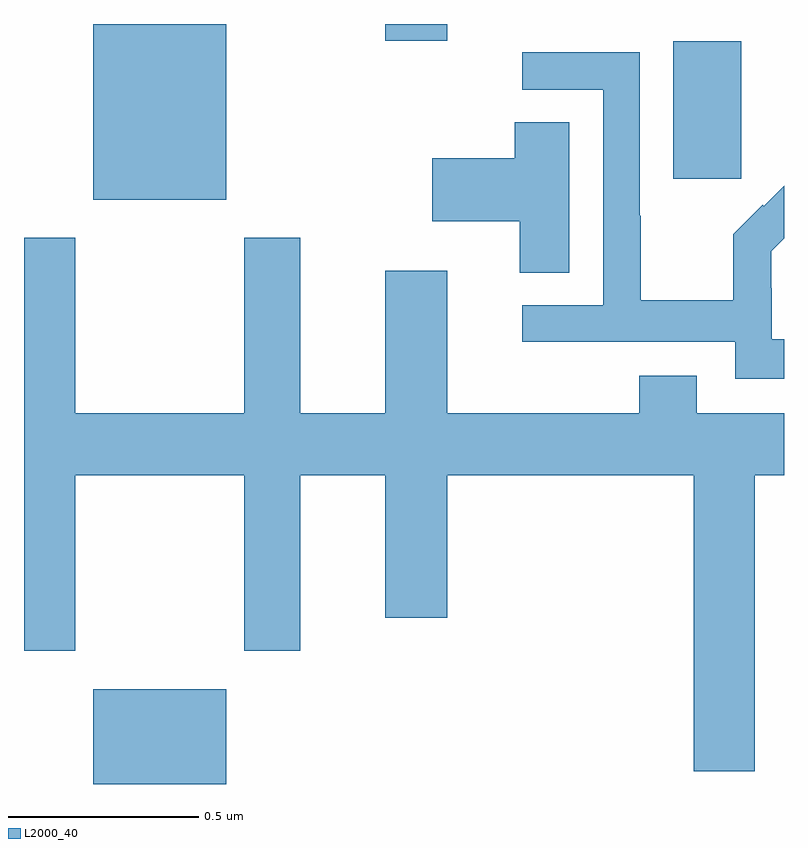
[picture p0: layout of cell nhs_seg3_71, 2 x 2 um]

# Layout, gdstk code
import gdstk
lib = gdstk.Library(unit=1e-6, precision=1e-09)
def R(c, l, rs):  # rectangles x0, y0, x1, y1
    for r in rs: c.add(gdstk.rectangle(r[:2], r[2:], *l))
def P(c, l, *ps):  # polygons
    for p in ps: c.add(gdstk.Polygon(p, *l))
L2000_40 = (2000, 40)

nhs_seg3_71 = lib.new_cell('nhs_seg3_71')
R(nhs_seg3_71, L2000_40, [(111.182,737.4,111.532,737.65), (111.182,738.938,111.532,739.4), (112.709,738.993,112.888,739.354), (111.95,739.356,112.114,739.4)])
P(nhs_seg3_71, L2000_40, [(113,738.571),(112.968,738.571),(112.968,738.705),(112.966,738.705),(112.966,738.802),(113,738.836),(113,738.974),(112.947,738.921),(112.944,738.924),(112.867,738.847),(112.867,738.673),(112.623,738.673),(112.623,738.896),(112.62,738.896),(112.62,739.326),(112.311,739.326),(112.311,739.227),(112.524,739.227),(112.524,738.66),(112.311,738.66),(112.311,738.564),(112.872,738.564),(112.872,738.467),(113,738.467)],
  [(112.435,739.142),(112.292,739.142),(112.292,739.047),(112.074,739.047),(112.074,738.881),(112.304,738.881),(112.304,738.745),(112.435,738.745)],
  [(112.923,738.212),(113,738.212),(113,738.376),(112.771,738.376),(112.771,738.475),(112.619,738.475),(112.619,738.376),(112.114,738.376),(112.114,738.751),(111.95,738.751),(111.95,738.376),(111.727,738.376),(111.727,738.838),(111.58,738.838),(111.58,738.376),(111.135,738.376),(111.135,738.838),(111,738.838),(111,737.751),(111.135,737.751),(111.135,738.212),(111.58,738.212),(111.58,737.751),(111.727,737.751),(111.727,738.212),(111.95,738.212),(111.95,737.838),(112.114,737.838),(112.114,738.212),(112.763,738.212),(112.763,737.433),(112.923,737.433)])

lib.write_gds('nhs_seg3_71.gds')
